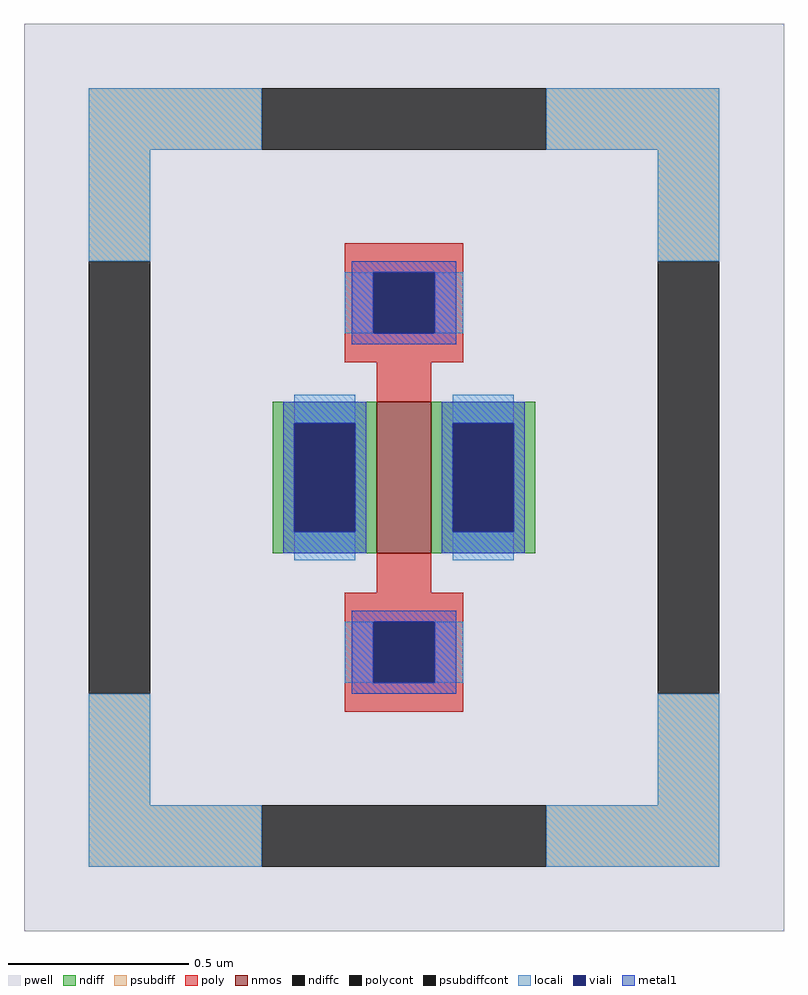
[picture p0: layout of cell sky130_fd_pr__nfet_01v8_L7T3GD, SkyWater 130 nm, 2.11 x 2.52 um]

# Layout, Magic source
magic
tech sky130A
magscale 1 2
<< pwell >>
rect -211 -252 211 252
<< nmos >>
rect -15 -42 15 42
<< ndiff >>
rect -73 30 -15 42
rect -73 -30 -61 30
rect -27 -30 -15 30
rect -73 -42 -15 -30
rect 15 30 73 42
rect 15 -30 27 30
rect 61 -30 73 30
rect 15 -42 73 -30
<< ndiffc >>
rect -61 -30 -27 30
rect 27 -30 61 30
<< psubdiff >>
rect -175 182 -79 216
rect 79 182 175 216
rect -175 120 -141 182
rect 141 120 175 182
rect -175 -182 -141 -120
rect 141 -182 175 -120
rect -175 -216 -79 -182
rect 79 -216 175 -182
<< psubdiffcont >>
rect -79 182 79 216
rect -175 -120 -141 120
rect 141 -120 175 120
rect -79 -216 79 -182
<< poly >>
rect -33 114 33 130
rect -33 80 -17 114
rect 17 80 33 114
rect -33 64 33 80
rect -15 42 15 64
rect -15 -64 15 -42
rect -33 -80 33 -64
rect -33 -114 -17 -80
rect 17 -114 33 -80
rect -33 -130 33 -114
<< polycont >>
rect -17 80 17 114
rect -17 -114 17 -80
<< locali >>
rect -175 182 -79 216
rect 79 182 175 216
rect -175 120 -141 182
rect 141 120 175 182
rect -33 80 -17 114
rect 17 80 33 114
rect -61 30 -27 46
rect -61 -46 -27 -30
rect 27 30 61 46
rect 27 -46 61 -30
rect -33 -114 -17 -80
rect 17 -114 33 -80
rect -175 -182 -141 -120
rect 141 -182 175 -120
rect -175 -216 -79 -182
rect 79 -216 175 -182
<< viali >>
rect -17 80 17 114
rect -61 -30 -27 30
rect 27 -30 61 30
rect -17 -114 17 -80
<< metal1 >>
rect -29 114 29 120
rect -29 80 -17 114
rect 17 80 29 114
rect -29 74 29 80
rect -67 30 -21 42
rect -67 -30 -61 30
rect -27 -30 -21 30
rect -67 -42 -21 -30
rect 21 30 67 42
rect 21 -30 27 30
rect 61 -30 67 30
rect 21 -42 67 -30
rect -29 -80 29 -74
rect -29 -114 -17 -80
rect 17 -114 29 -80
rect -29 -120 29 -114
<< properties >>
string FIXED_BBOX -158 -199 158 199
string gencell sky130_fd_pr__nfet_01v8
string library sky130
string parameters w 0.42 l 0.15 m 1 nf 1 diffcov 100 polycov 100 guard 1 glc 1 grc 1 gtc 1 gbc 1 tbcov 100 rlcov 100 topc 1 botc 1 poverlap 0 doverlap 1 lmin 0.15 wmin 0.42 compatible {sky130_fd_pr__nfet_01v8 sky130_fd_pr__nfet_01v8_lvt  sky130_fd_bs_flash__special_sonosfet_star  sky130_fd_pr__nfet_g5v0d10v5 sky130_fd_pr__nfet_05v0_nvt  sky130_fd_pr__nfet_03v3_nvt} full_metal 1 viasrc 100 viadrn 100 viagate 100 viagb 0 viagr 0 viagl 0 viagt 0
<< end >>
